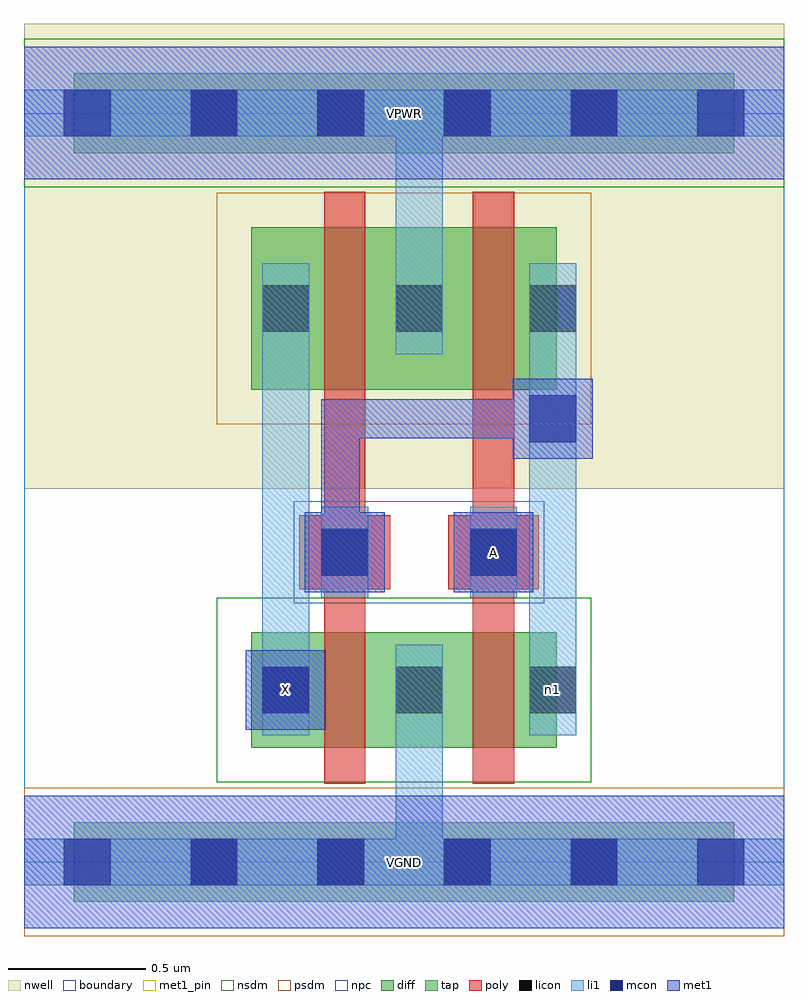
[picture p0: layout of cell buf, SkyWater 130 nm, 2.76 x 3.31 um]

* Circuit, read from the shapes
.subckt buf A VGND VPWR X n1
XM1 VGND n1 X VGND sky130_fd_pr__nfet_01v8 w=0.42 l=0.15
XM2 n1 A VGND VGND sky130_fd_pr__nfet_01v8 w=0.42 l=0.15
XM3 VPWR n1 X VPWR sky130_fd_pr__pfet_01v8 w=0.59 l=0.15
XM4 n1 A VPWR VPWR sky130_fd_pr__pfet_01v8 w=0.59 l=0.15
.ends

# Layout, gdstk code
import gdstk
lib = gdstk.Library(unit=1e-6, precision=1e-09)
def R(c, l, rs):  # rectangles x0, y0, x1, y1
    for r in rs: c.add(gdstk.rectangle(r[:2], r[2:], *l))
def A(c, l, x, y, w, h, nx, ny, dx, dy):  # array of equal rectangles
    R(c, l, [(x+i*dx, y+j*dy, x+i*dx+w, y+j*dy+h) for i in range(nx) for j in range(ny)])
nwell = (64, 20)
diff = (65, 20)
tap = (65, 44)
poly = (66, 20)
licon = (66, 44)
li1 = (67, 20)
mcon = (67, 44)
met1_pin = (68, 16)
met1 = (68, 20)
nsdm = (93, 44)
psdm = (94, 20)
npc = (95, 20)
boundary = (235, 4)

buf = lib.new_cell('buf')
R(buf, nwell, [(0,1.355,2.76,3.045)])
R(buf, diff, [(0.825,0.415,1.935,0.835), (0.825,1.715,1.935,2.305)])
R(buf, tap, [(0.18,-0.145,2.58,0.145), (0.18,2.575,2.58,2.865)])
R(buf, poly, [(1.09,0.285,1.24,2.435), (1.63,0.285,1.78,2.435), (1,0.99,1.33,1.26), (1.54,0.99,1.87,1.26)])
A(buf, licon, 0.605, -0.085, 0.17, 0.17, 4, 2, 0.46, 2.72)
A(buf, licon, 0.865, 0.54, 0.17, 0.17, 3, 2, 0.485, 1.385)
R(buf, licon, [(1.08,1.04,1.25,1.21), (1.62,1.04,1.79,1.21)])
A(buf, li1, 0.865, 0.46, 0.17, 0.33, 3, 2, 0.485, 1.385)
R(buf, li1, [(0,-0.085,2.76,0.085), (1.35,-0.085,1.52,0.79), (0.865,0.46,1.035,2.175), (1.835,0.46,2.005,2.175), (1.08,0.96,1.25,1.29), (1.62,0.96,1.79,1.29), (1.35,1.845,1.52,2.805), (0,2.635,2.76,2.805)])
A(buf, mcon, 0.145, -0.085, 0.17, 0.17, 6, 2, 0.46, 2.72)
R(buf, mcon, [(0.865,0.54,1.035,0.71), (1.08,1.04,1.25,1.21), (1.62,1.04,1.79,1.21), (1.835,1.525,2.005,1.695)])
R(buf, met1_pin, [(0,-0.24,2.76,0.24), (0.805,0.48,1.095,0.77), (1.56,0.98,1.85,1.27), (0,2.48,2.76,2.96)])
R(buf, met1, [(0,-0.24,2.76,0.24), (0.805,0.48,1.095,0.77), (1.02,0.98,1.31,1.27), (1.56,0.98,1.85,1.27), (1.08,1.08,1.22,1.22), (1.08,1.08,1.22,1.68), (1.775,1.465,2.065,1.755), (1.08,1.54,1.795,1.68), (1.655,1.54,1.99,1.68), (0,2.48,2.76,2.96)])
R(buf, nsdm, [(0.7,0.29,2.06,0.96), (0,2.45,2.76,2.99)])
R(buf, psdm, [(0,-0.27,2.76,0.27), (0.7,1.59,2.06,2.43)])
R(buf, npc, [(0.98,0.94,1.89,1.31)])
R(buf, boundary, [(0,0,2.76,2.72)])
buf.add(gdstk.Label('n1', (1.92,0.625), layer=67, texttype=5))
buf.add(gdstk.Label('A', (1.705,1.125), layer=68, texttype=5))
buf.add(gdstk.Label('X', (0.95,0.625), layer=68, texttype=5))
buf.add(gdstk.Label('VPWR', (1.38,2.72), layer=68, texttype=5))
buf.add(gdstk.Label('VGND', (1.38,0), layer=68, texttype=5))
buf.add(gdstk.Label('A', (1.705,1.125), layer=68, texttype=16))
buf.add(gdstk.Label('X', (0.95,0.625), layer=68, texttype=16))
buf.add(gdstk.Label('VPWR', (1.38,2.72), layer=68, texttype=16))
buf.add(gdstk.Label('VGND', (1.38,0), layer=68, texttype=16))

lib.write_gds('buf.gds')
